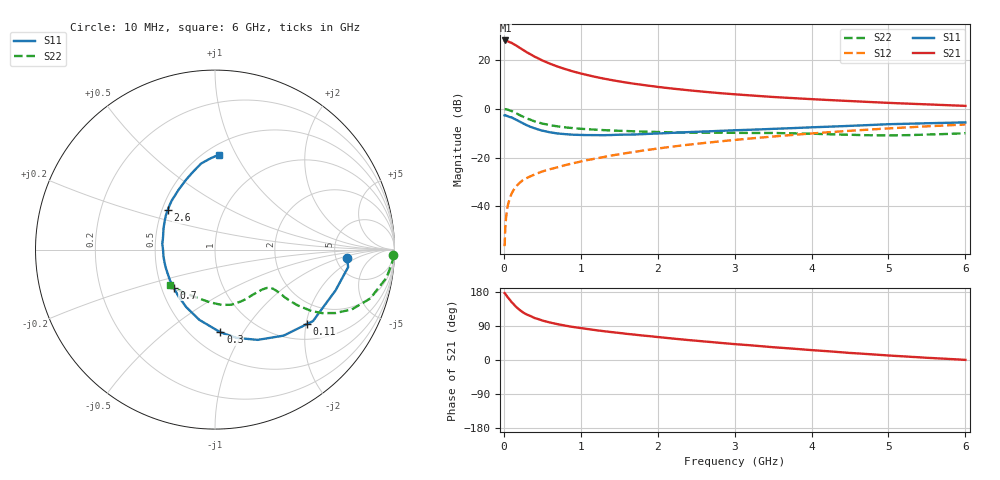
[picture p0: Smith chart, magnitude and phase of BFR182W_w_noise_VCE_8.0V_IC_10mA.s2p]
! Infineon Technologies  Discrete & RF Semiconductors
! BFR182W
! VCE =  8.0 V,  IC =  10 mA
! Common Emitter S-Parameters:  Jan 2017
# GHz  S  MA  R  50
!  f  S11  S21  S12  S22
! GHz  MAG  ANG  MAG  ANG  MAG  ANG  MAG  ANG
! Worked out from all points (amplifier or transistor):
!   77 points, 10 MHz to 6 GHz, reference 50 ohm
!   highest |S21| = 28.2 dB at 20 MHz (marker M1)
!   |S21| within 3 dB of that: start of sweep to 205.3 MHz
!   unconditionally stable (mu >= 1): 1.108 GHz to 2.626 GHz
!   at 130 MHz: K = 0.28, MSG = 29.9 dB, |S12| = -33.2 dB
!   at 2.2 GHz: K = 1.02, MAG = 11.0 dB, |S12| = -15.5 dB
!   at 6 GHz: K = 0.86, MSG = 3.8 dB, |S12| = -6.4 dB
!   lowest NFmin = 1.07 dB at 450 MHz
!   S11 on the Smith chart (normalised r, x): 10 MHz: 6.32, -1.36; 110 MHz: 1.38, -2.03; 300 MHz: 0.68, -0.80; 700 MHz: 0.58, -0.27; 2.6 GHz: 0.54, +0.27; 6 GHz: 0.58, +0.86
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0.01  0.7376 -3.8  25.55 176.5  0.0015 79.0  0.9948 -1.8
0.02  0.7481 -7.5  25.72 174.0  0.004 87.5  0.9903 -3.9
0.05  0.7092 -18.7  24.79 165.7  0.01 80.9  0.9685 -9.3
0.1  0.6758 -36.1  22.99 153.0  0.018 74.1  0.9075 -17.4
0.11  0.6597 -38.9  22.46 151.0  0.0193 72.5  0.8916 -18.6
0.15  0.6132 -51.4  20.69 142.0  0.0246 68.0  0.8321 -23.6
0.2  0.5563 -64.7  18.43 133.0  0.0297 64.9  0.7582 -27.8
0.25  0.5058 -76.4  16.43 125.5  0.0346 62.6  0.6929 -30.7
0.3  0.4616 -86.3  14.64 119.8  0.0381 60.6  0.6367 -32.5
0.4  0.4008 -102.6  11.95 110.8  0.0448 59.9  0.5563 -34.0
0.5  0.3585 -116.5  9.973 104.2  0.0517 60.3  0.5012 -34.4
0.6  0.3309 -127.9  8.547 98.9  0.0576 61.3  0.4641 -34.3
0.7  0.3128 -137.5  7.446 94.5  0.0633 63.1  0.4378 -33.9
0.9  0.2953 -153.7  5.917 87.2  0.0763 64.1  0.4037 -33.9
1.1  0.2898 -166.9  4.926 81.4  0.0896 65.1  0.3822 -34.3
1.5  0.2956 173.5  3.693 71.4  0.1168 65.9  0.3557 -37.4
2.1  0.3175 152.9  2.732 58.6  0.1609 64.7  0.333 -46.0
2.6  0.3437 140.2  2.263 49.0  0.199 62.6  0.3248 -55.7
3.1  0.3687 129.2  1.955 40.4  0.2384 59.5  0.3217 -65.4
4.1  0.4248 111.5  1.564 24.7  0.3216 52.0  0.3063 -85.5
5.1  0.49 97.8  1.316 10.7  0.406 43.0  0.2869 -114.7
6  0.5296 87.5  1.158 0.3  0.4792 34.0  0.3175 -141.5
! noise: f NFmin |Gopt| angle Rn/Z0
0.45  1.07  0.08  50  0.15
0.9  1.15  0.07  86  0.15
1.9  1.65  0.19  -164  0.13
2.4  1.9  0.18  -156  0.2
